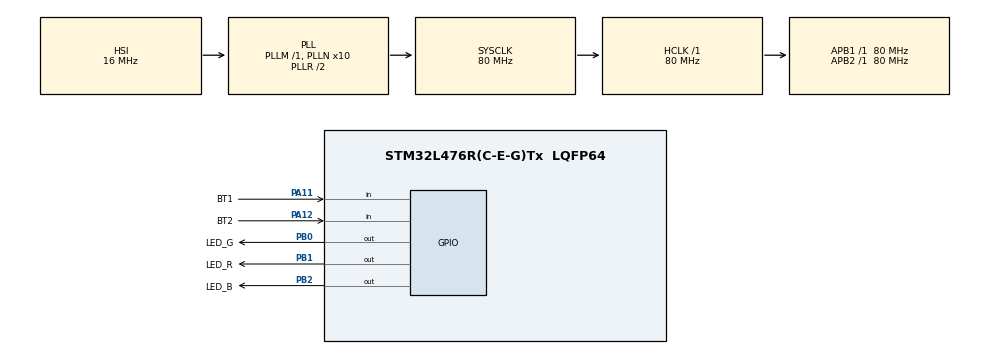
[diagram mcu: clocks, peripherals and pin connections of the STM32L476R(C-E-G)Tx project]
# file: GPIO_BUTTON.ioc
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Mcu.Family=STM32L4
Mcu.Name=STM32L476R(C-E-G)Tx
Mcu.Package=LQFP64
NVIC.PriorityGroup=NVIC_PRIORITYGROUP_4
PA11.GPIO_Label=BT1
PA11.GPIO_PuPd=GPIO_PULLUP
PA11.Signal=GPIO_Input
PA12.GPIO_Label=BT2
PA12.GPIO_PuPd=GPIO_PULLUP
PA12.Signal=GPIO_Input
PA13\ (JTMS-SWDIO).Mode=Serial_Wire
PA13\ (JTMS-SWDIO).Signal=SYS_JTMS-SWDIO
PA14\ (JTCK-SWCLK).Mode=Serial_Wire
PA14\ (JTCK-SWCLK).Signal=SYS_JTCK-SWCLK
PB0.GPIO_Label=LED_G
PB0.GPIO_ModeDefaultOutputPP=GPIO_MODE_OUTPUT_PP
PB0.GPIO_PuPd=GPIO_NOPULL
PB0.Signal=GPIO_Output
PB1.GPIO_Label=LED_R
PB1.Signal=GPIO_Output
PB2.GPIO_Label=LED_B
PB2.Signal=GPIO_Output
ProjectManager.HeapSize=0x200
ProjectManager.StackSize=0x400
ProjectManager.TargetToolchain=MDK-ARM V5.32
RCC.ADCFreq_Value=64000000
RCC.AHBFreq_Value=80000000
RCC.APB1Freq_Value=80000000
RCC.APB1TimFreq_Value=80000000
RCC.APB2Freq_Value=80000000
RCC.APB2TimFreq_Value=80000000
RCC.CortexFreq_Value=80000000
RCC.HCLKFreq_Value=80000000
RCC.HSE_VALUE=8000000
RCC.HSI_VALUE=16000000
RCC.LSE_VALUE=32768
RCC.MSI_VALUE=4000000
RCC.PLLN=10
RCC.PLLSourceVirtual=RCC_PLLSOURCE_HSI
RCC.SYSCLKFreq_VALUE=80000000
RCC.SYSCLKSource=RCC_SYSCLKSOURCE_PLLCLK
RCC.USBFreq_Value=64000000
RCC.VCOOutputFreq_Value=160000000
board=custom

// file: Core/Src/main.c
/* USER CODE BEGIN Header */
/**
  ******************************************************************************
  * @file           : main.c
  * @brief          : Main program body
  ******************************************************************************
  * @attention
  *
  * Copyright (c) 2026 STMicroelectronics.
  * All rights reserved.
  *
  * This software is licensed under terms that can be found in the LICENSE file
  * in the root directory of this software component.
  * If no LICENSE file comes with this software, it is provided AS-IS.
  *
  ******************************************************************************
  */
/* USER CODE END Header */
#include "main.h"

/* USER CODE BEGIN Includes */
#include "led_rgb.h"
#include "multiple_bt.h"

/* USER CODE END Includes */

/* USER CODE BEGIN PD */
GPIO_TypeDef   *rgb_ports[] = {GPIOB,GPIOB,GPIOB};
uint16_t         rgb_pins[] = {LED_R_Pin,LED_G_Pin,LED_B_Pin};
RGB rgb;
uint16_t count = 0;

Button_Typedef button1;
Button_Typedef button2;

//uint8_t btn_current = 1;
//uint8_t btn_previous = 1;
//uint8_t btn_filter = 1;
//uint8_t is_debouncing;
//uint32_t time_debounce;
//uint32_t time_start_press;
//uint8_t is_press_timeout;

typedef enum
{
	LED_OFF,
	LED_RED_BLINK_1HZ,
	LED_GREEN_BLINK_5HZ,
	LED_BLUE_BLINK_10HZ,
}LEdStatus;

LEdStatus led_status ;

/* USER CODE END PD */

void SystemClock_Config(void);
static void MX_GPIO_Init(void);

/* USER CODE BEGIN 0 */

//void btn_pressing_callback(void)
//{
//
//}

void btn_pressing_callback(Button_Typedef *buttonX)
{
	if (&button1 == buttonX)
	{

	}
	if (&button2 == buttonX)
	{

	}
}

void btn_press_short_callback(Button_Typedef *buttonX)
{
	if (&button1 == buttonX || &button2 == buttonX)
	{
		switch(led_status)
		{
			case LED_OFF:
				led_status = LED_RED_BLINK_1HZ;
				break;
			case LED_RED_BLINK_1HZ:
				led_status = LED_GREEN_BLINK_5HZ;
				break;
			case LED_GREEN_BLINK_5HZ:
				led_status = LED_BLUE_BLINK_10HZ;
				break;
			case LED_BLUE_BLINK_10HZ:
				led_status = LED_OFF;
				break;
			default:
				break;
		}
	}
//	if (&button1 == buttonX)
//	{
//		switch(led_status)
//		{
//			case LED_OFF:
//				led_status = LED_RED_BLINK_1HZ;
//				break;
//			case LED_RED_BLINK_1HZ:
//				led_status = LED_GREEN_BLINK_5HZ;
//				break;
//			case LED_GREEN_BLINK_5HZ:
//				led_status = LED_OFF;
//				break;
//			default:
//				break;
//		}
//	}
//	if (&button2 == buttonX)
//	{
//		switch(led_status)
//		{
//			case LED_OFF:
//				led_status = LED_RED_BLINK_1HZ;
//				break;
//			case LED_RED_BLINK_1HZ:
//				led_status = LED_GREEN_BLINK_5HZ;
//				break;
//			case LED_GREEN_BLINK_5HZ:
//				led_status = LED_OFF;
//				break;
//			default:
//				break;
//		}
//
//	}
}

void led_off()
{
	rgb_setcolor(&rgb, OFF);
}
void led_Red_Blink1Hz()
{
	rgb_blink(&rgb, RED,  500);
}
void led_Green_Blink5Hz()
{
	rgb_blink(&rgb, GREEN,  100);
}

void led_Blue_Blink10Hz()
{
	rgb_blink(&rgb, BLUE,  50);
}

void led_handle()
{
	switch(led_status)
	{
		case LED_OFF:
			led_off();
			break;
		case LED_RED_BLINK_1HZ:
			led_Red_Blink1Hz();
			break;
		case LED_GREEN_BLINK_5HZ:
			led_Green_Blink5Hz();
			break;
		case LED_BLUE_BLINK_10HZ:
			led_Blue_Blink10Hz();
			break;
		default:
			break;
	}
}

/* USER CODE END 0 */

int main(void)
{

  /* MCU Configuration--------------------------------------------------------*/

  /* Reset of all peripherals, Initializes the Flash interface and the Systick. */
  HAL_Init();

  /* USER CODE BEGIN Init */

	rgb_init(&rgb ,rgb_ports , rgb_pins);
	button_init(&button1, GPIOA, BT1_Pin);
	button_init(&button2, GPIOA, BT2_Pin);

  /* USER CODE END Init */

  /* Configure the system clock */
  SystemClock_Config();

  /* USER CODE BEGIN SysInit */
	led_status = LED_OFF;

  /* USER CODE END SysInit */

  /* Initialize all configured peripherals */
  MX_GPIO_Init();

  /* Infinite loop */
  while (1)
  {

    /* USER CODE BEGIN 3 */

		button_handle(&button1);
		button_handle(&button2);

		led_handle();

  }
  /* USER CODE END 3 */
}

void SystemClock_Config(void)
{
  RCC_OscInitTypeDef RCC_OscInitStruct = {0};
  RCC_ClkInitTypeDef RCC_ClkInitStruct = {0};

  /** Configure the main internal regulator output voltage
  */
  if (HAL_PWREx_ControlVoltageScaling(PWR_REGULATOR_VOLTAGE_SCALE1) != HAL_OK)
  {
    Error_Handler();
  }

  /** Initializes the RCC Oscillators according to the specified parameters
  * in the RCC_OscInitTypeDef structure.
  */
  RCC_OscInitStruct.OscillatorType = RCC_OSCILLATORTYPE_HSI;
  RCC_OscInitStruct.HSIState = RCC_HSI_ON;
  RCC_OscInitStruct.HSICalibrationValue = RCC_HSICALIBRATION_DEFAULT;
  RCC_OscInitStruct.PLL.PLLState = RCC_PLL_ON;
  RCC_OscInitStruct.PLL.PLLSource = RCC_PLLSOURCE_HSI;
  RCC_OscInitStruct.PLL.PLLM = 1;
  RCC_OscInitStruct.PLL.PLLN = 10;
  RCC_OscInitStruct.PLL.PLLP = RCC_PLLP_DIV7;
  RCC_OscInitStruct.PLL.PLLQ = RCC_PLLQ_DIV2;
  RCC_OscInitStruct.PLL.PLLR = RCC_PLLR_DIV2;
  if (HAL_RCC_OscConfig(&RCC_OscInitStruct) != HAL_OK)
  {
    Error_Handler();
  }

  /** Initializes the CPU, AHB and APB buses clocks
  */
  RCC_ClkInitStruct.ClockType = RCC_CLOCKTYPE_HCLK|RCC_CLOCKTYPE_SYSCLK
                              |RCC_CLOCKTYPE_PCLK1|RCC_CLOCKTYPE_PCLK2;
  RCC_ClkInitStruct.SYSCLKSource = RCC_SYSCLKSOURCE_PLLCLK;
  RCC_ClkInitStruct.AHBCLKDivider = RCC_SYSCLK_DIV1;
  RCC_ClkInitStruct.APB1CLKDivider = RCC_HCLK_DIV1;
  RCC_ClkInitStruct.APB2CLKDivider = RCC_HCLK_DIV1;

  if (HAL_RCC_ClockConfig(&RCC_ClkInitStruct, FLASH_LATENCY_4) != HAL_OK)
  {
    Error_Handler();
  }
}

static void MX_GPIO_Init(void)
{
  GPIO_InitTypeDef GPIO_InitStruct = {0};

  /* GPIO Ports Clock Enable */
  __HAL_RCC_GPIOB_CLK_ENABLE();
  __HAL_RCC_GPIOA_CLK_ENABLE();

  /*Configure GPIO pin Output Level */
  HAL_GPIO_WritePin(GPIOB, LED_G_Pin|LED_R_Pin|LED_B_Pin, GPIO_PIN_RESET);

  /*Configure GPIO pins : LED_G_Pin LED_R_Pin LED_B_Pin */
  GPIO_InitStruct.Pin = LED_G_Pin|LED_R_Pin|LED_B_Pin;
  GPIO_InitStruct.Mode = GPIO_MODE_OUTPUT_PP;
  GPIO_InitStruct.Pull = GPIO_NOPULL;
  GPIO_InitStruct.Speed = GPIO_SPEED_FREQ_LOW;
  HAL_GPIO_Init(GPIOB, &GPIO_InitStruct);

  /*Configure GPIO pins : BT1_Pin BT2_Pin */
  GPIO_InitStruct.Pin = BT1_Pin|BT2_Pin;
  GPIO_InitStruct.Mode = GPIO_MODE_INPUT;
  GPIO_InitStruct.Pull = GPIO_PULLUP;
  HAL_GPIO_Init(GPIOA, &GPIO_InitStruct);

}

void Error_Handler(void)
{
  __disable_irq();
  while (1)
  {
  }
}
